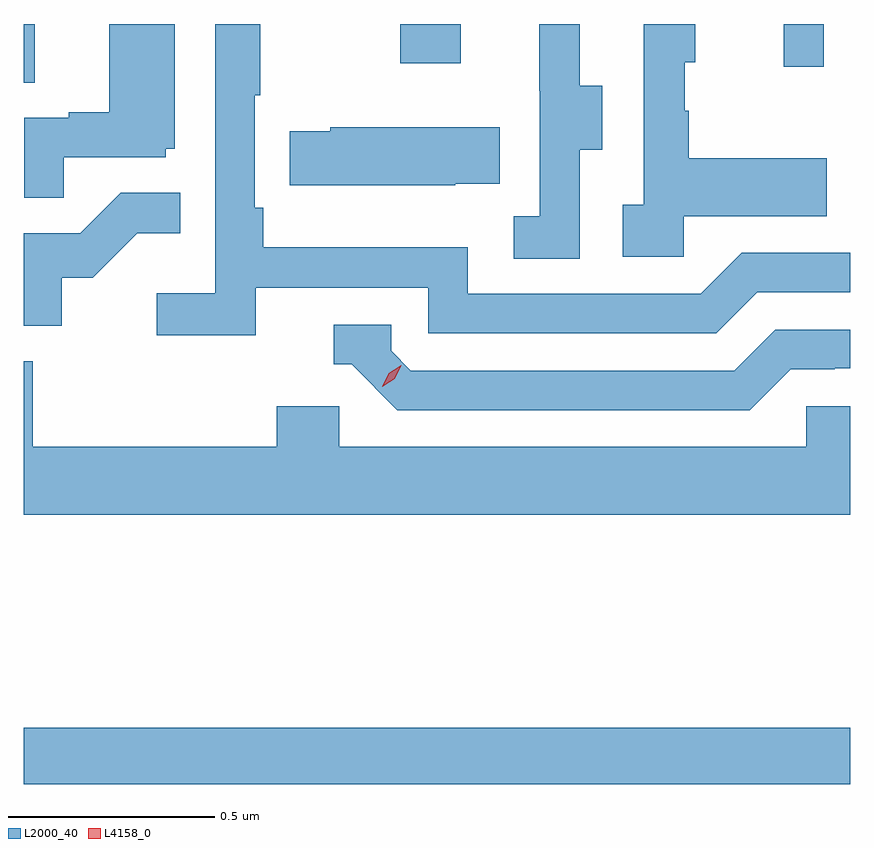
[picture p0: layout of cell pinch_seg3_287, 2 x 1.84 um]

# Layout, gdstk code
import gdstk
lib = gdstk.Library(unit=1e-6, precision=1e-09)
def R(c, l, rs):  # rectangles x0, y0, x1, y1
    for r in rs: c.add(gdstk.rectangle(r[:2], r[2:], *l))
def P(c, l, *ps):  # polygons
    for p in ps: c.add(gdstk.Polygon(p, *l))
L2000_40 = (2000, 40)
L4158_0 = (4158, 0)

pinch_seg3_287 = lib.new_cell('pinch_seg3_287')
R(pinch_seg3_287, L2000_40, [(948.131,708.256,950.131,708.392), (948.131,709.954,948.157,710.096), (949.97,709.992,950.067,710.096), (949.042,710.001,949.189,710.096)])
P(pinch_seg3_287, L2000_40, [(948.692,709.458),(949.11,709.458),(949.11,709.347),(949.807,709.347),(949.906,709.446),(950.131,709.446),(950.131,709.542),(949.869,709.542),(949.77,709.443),(949.206,709.443),(949.206,709.555),(948.71,709.555),(948.71,709.651),(948.69,709.651),(948.69,709.924),(948.703,709.924),(948.703,710.096),(948.594,710.096),(948.594,709.444),(948.453,709.444),(948.453,709.342),(948.692,709.342)],
  [(949.476,709.792),(949.531,709.792),(949.531,709.947),(949.477,709.947),(949.477,710.096),(949.379,710.096),(949.379,709.935),(949.38,709.935),(949.38,709.631),(949.317,709.631),(949.317,709.528),(949.476,709.528)],
  [(949.728,709.631),(950.075,709.631),(950.075,709.771),(949.741,709.771),(949.741,709.886),(949.731,709.886),(949.731,710.004),(949.756,710.004),(949.756,710.096),(949.632,710.096),(949.632,709.658),(949.581,709.658),(949.581,709.533),(949.728,709.533)],
  [(948.227,709.773),(948.474,709.773),(948.474,709.794),(948.496,709.794),(948.496,710.096),(948.338,710.096),(948.338,709.882),(948.239,709.882),(948.239,709.869),(948.132,709.869),(948.132,709.675),(948.227,709.675)],
  [(949.175,709.709),(949.283,709.709),(949.283,709.846),(948.873,709.846),(948.873,709.836),(948.775,709.836),(948.775,709.706),(949.175,709.706)],
  [(948.222,709.482),(948.298,709.482),(948.405,709.589),(948.509,709.589),(948.509,709.688),(948.365,709.688),(948.267,709.59),(948.131,709.59),(948.131,709.365),(948.222,709.365)],
  [(949.987,709.26),(950.094,709.26),(950.094,709.263),(950.131,709.263),(950.131,709.356),(949.95,709.356),(949.851,709.257),(949.068,709.257),(949.02,709.305),(949.02,709.368),(948.881,709.368),(948.881,709.272),(948.924,709.272),(949.035,709.161),(949.888,709.161)],
  [(950.131,709.17),(950.025,709.17),(950.025,709.072),(948.894,709.072),(948.894,709.17),(948.743,709.17),(948.743,709.072),(948.152,709.072),(948.152,709.28),(948.131,709.28),(948.131,708.908),(950.131,708.908)])
P(pinch_seg3_287, L4158_0, [(948.998,709.218),(948.998,709.218),(949.014,709.251),(949.045,709.27),(949.045,709.27),(949.045,709.27),(949.029,709.237),(948.998,709.218)])

lib.write_gds('pinch_seg3_287.gds')
